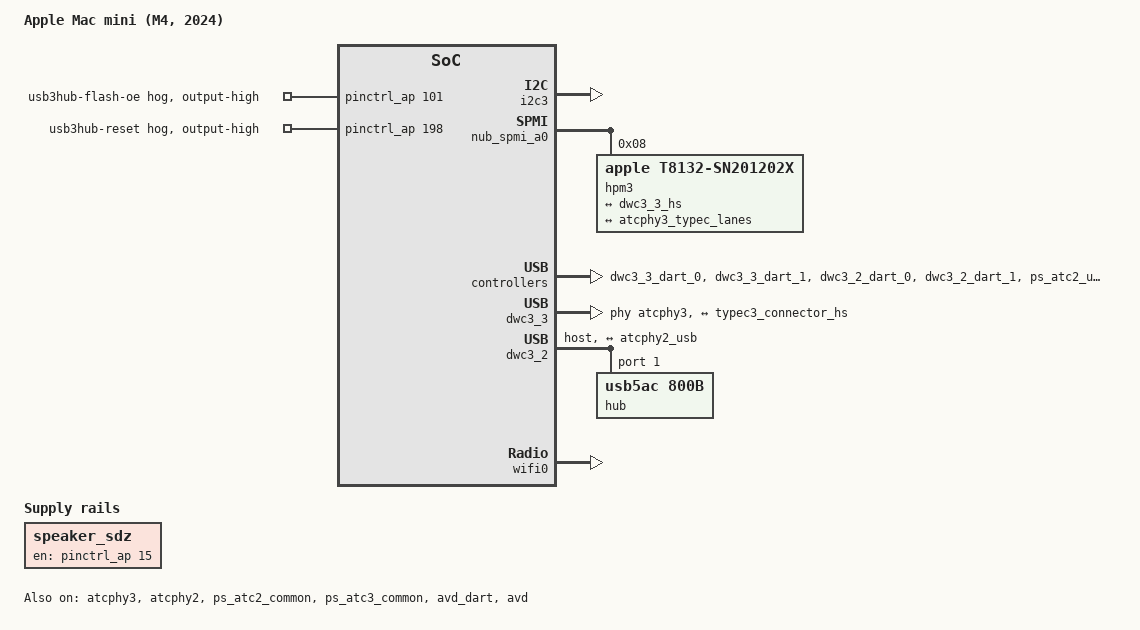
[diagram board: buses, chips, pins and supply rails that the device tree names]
// SPDX-License-Identifier: GPL-2.0+ OR MIT
/*
 * Apple Mac mini (M4, 2024)
 *
 * target-type: J773g
 *
 * Wired from the J773g ADT (macOS 26.6.2; the HDMI port on dcpext0 from the
 * macOS 27.2 one).
 *
 * Copyright The Asahi Linux Contributors
 */

/dts-v1/;

#include "t8132.dtsi"
#include "t8132-desktop.dtsi"
#include "t8132-atc23.dtsi"
#include <dt-bindings/gpio/gpio.h>
#include <dt-bindings/spmi/spmi.h>

/ {
	compatible = "apple,j773g", "apple,t8132", "apple,arm-platform";
	model = "Apple Mac mini (M4, 2024)";
	chassis-type = "desktop";

	/*
	 * The speaker amp's shutdown line (SDZ, AP GPIO 15, the ADT
	 * function-reset; low = shutdown).
	 */
	speaker_sdz: regulator-sn012776-sdz {
		compatible = "regulator-fixed";
		regulator-name = "sn012776-sdz";
		gpios = <&pinctrl_ap 15 GPIO_ACTIVE_HIGH>;
		enable-active-high;
	};
};

/*
 * iBoot scans out through dispext0 to the HDMI port (dptx-phy and a
 * DP-to-HDMI converter at i2c0 0x08, hot-plug on AOP GPIO 41): keep the
 * power domains used for it on.
 */
&framebuffer0 {
	power-domains = <&ps_dispext0_fe>, <&ps_dptx_phy>;
};

/*
 * The HDMI port as macOS 27.2 drives it: from dispext0 alone (4K60, and
 * 4K120 with DSC; the main DCP started and then parked), through the LPDPTX
 * PHY and the PS190 DP-to-HDMI converter. It is the M4 Max Mac Studio's HDMI
 * port (t6041-j575c-hdmi.dtsi): the same PHY block, converter and rails, and
 * it is handed over the same way, on the firmware-27 backend.
 *
 * Every node is disabled. On macOS 27.2 the boot loader (aura) fills
 * dcpext0's firmware memory and firmware clocks, leaves the main DCP running
 * idle, and enables the display subsystem on iBoot's framebuffer; the display
 * gate (drivers/soc/apple/display-gate.c) then enables this chain and points
 * the display subsystem at dispext0's DART. On the M4 26.6.2 firmware path
 * none of it is enabled from here.
 */
/ {
	reserved-memory {
		/* Filled by the boot loader on macOS 27.2, as the J575c's. */
		dcpext0_text: dcpext0-text {
			compatible = "apple,asc-mem";
			reg = <0x0 0x0 0x0 0x4000>;
			no-map;
			status = "disabled";
		};

		dcpext0_data: dcpext0-data {
			compatible = "apple,asc-mem";
			reg = <0x0 0x0 0x0 0x4000>;
			no-map;
			status = "disabled";
		};

		dcpext0_heap: dcpext0-heap {
			compatible = "apple,asc-mem";
			reg = <0x0 0x0 0x0 0x4000>;
			no-map;
			status = "disabled";
		};
	};
};

&soc {
	/*
	 * ADT /arm-io/dptx-phy (dptx-phy,t8132, as the J575c's lpdptx-phy0):
	 * the T6050 layout, a core bank and a dptx bank, and the ADT's PLL
	 * calibration (FD0FD1SWAP unset). The display crossbar's dfp-endpoint 4
	 * (lpdptx); dispext0 is its ufp-endpoint 0, which the PHY's source
	 * select takes as 1, dcpext0's apple,dcp-index.
	 */
	lpdptx_phy: phy@39a700000 {
		compatible = "apple,t8132-dptx-phy", "apple,t6050-dptx-phy";
		reg = <0x3 0x9a700000 0x0 0x4000>,
		      <0x3 0x9a740000 0x0 0x10000>;
		reg-names = "core", "dptx";
		power-domains = <&ps_dptx_phy>;
		#phy-cells = <0>;
		#reset-cells = <0>;
		apple,ufp-endpoint = <0>;
		apple,pll-dcocfg = <0x4>;
		apple,pll-dtcvreg = <0xf>;
		apple,pll-dtccal = <0x2>;
		apple,pll-dcdadj = <0x10>;
		apple,pll-dlfcfg = <0x3>;
		apple,pll-rodcoroleakcomp = <0x0>;
		status = "disabled";
	};
};

/*
 * No PMP runs off the M4 firmware path, and iBoot leaves DISPEXT0 powered
 * with its CPU domain under hardware control: as on the J575c, the pipe has
 * no power domain here, and Linux never switches it. Its front end (and
 * through it DISPEXT0_SYS) is held by the boot framebuffer only: keep it on
 * once the display driver has taken over, or the domain would be powered off
 * under the running processor.
 */
&ps_dispext0_fe {
	apple,always-on;
};

&dcpext0_mbox {
	/delete-property/ power-domains;
};

&dcpext0_dart {
	/delete-property/ power-domains;
};

&dispext0_dart {
	/delete-property/ power-domains;
};

/*
 * ADT /arm-io/dp2hdmi-gpio0: hdmi_hpd on AOP GPIO 41, hdmi_pwr_en on SMC
 * gP0f and dp2hdmi_pwr_en on SMC gP1a (the J575c's rails). No Type-C route:
 * dcpext0 drives only this port.
 */
&dcpext0 {
	/delete-property/ power-domains;
	apple,iomfb-surfaces = <1 1 0 0>;
	apple,connector-type = "HDMI-A";
	hdmi-hpd-gpios = <&pinctrl_aop 41 GPIO_ACTIVE_HIGH>;
	hdmi-pwren-gpios = <&smc_gpio 15 GPIO_ACTIVE_HIGH>;
	dp2hdmi-pwren-gpios = <&smc_gpio 26 GPIO_ACTIVE_HIGH>;
	phys = <&lpdptx_phy>;
	phy-names = "dp-phy";
	/* the crossbar's output 4 (ADT dptx-phy dp-switch-dfp-endpoint) */
	apple,dptx-phy = <4>;
	memory-region = <&dcpext0_text>, <&dcpext0_data>, <&dcpext0_heap>;
	memory-region-names = "text", "data", "heap";
};

/*
 * Without this, the PMP firmware faults in the PMC block (0x382800000)
 * shortly after it starts on this board. J713 keeps ps_pmc out of Linux
 * in its PMGR policy; this board has none yet.
 */
&ps_pmc {
	apple,always-on;
};

/*
 * The AOP audio component always runs a microphone stream, and this Mac
 * has no microphones (ADT iop-audio-controller has no audio-hp) and no
 * speaker sense, so it has no sound card yet. The AOP registers its audio
 * service by itself: without the node, no driver binds it.
 */
/delete-node/ &aop_audio;

/*
 * The SN012776 speaker amp (ADT /arm-io/i2c3/audio-speaker at 0x38, mono,
 * speaker-protection 0): interrupt on AP GPIO 14, level low. Disabled
 * until the speaker has a sound card and a protection profile.
 */
&i2c3 {
	status = "okay";

	speaker: codec@38 {
		compatible = "ti,sn012776", "ti,tas2764";
		reg = <0x38>;
		SDZ-supply = <&speaker_sdz>;
		apple,sdz-group-fail-closed;
		apple,deferred-shutdown;
		#sound-dai-cells = <0>;
		sound-name-prefix = "Speaker";
		interrupts-extended = <&pinctrl_ap 14 IRQ_TYPE_LEVEL_LOW>;
		ti,imon-slot-no = <0>;
		ti,vmon-slot-no = <2>;
		status = "disabled";
	};
};

&typec0 {
	label = "USB-C Back Middle";
};

&typec1 {
	label = "USB-C Back Left";
};

/* ATC3's port controller (ADT nub-spmi-a0 hpm3). */
&nub_spmi_a0 {
	hpm3: usb-pd@8 {
		compatible = "apple,t8132-sn201202x", "apple,sn201202x";
		reg = <0x8 SPMI_USID>;
		interrupts = <63 IRQ_TYPE_EDGE_RISING>,
			     <69 IRQ_TYPE_EDGE_RISING>,
			     <71 IRQ_TYPE_EDGE_RISING>;
		interrupt-names = "irq", "sleep", "wake";
		wakeup-source;

		typec3: connector {
			compatible = "usb-c-connector";
			label = "USB-C Back Right";
			power-role = "dual";
			data-role = "dual";

			ports {
				#address-cells = <1>;
				#size-cells = <0>;

				port@0 {
					reg = <0>;
					typec3_connector_hs: endpoint {
						remote-endpoint = <&dwc3_3_hs>;
					};
				};

				port@1 {
					reg = <1>;
					typec3_connector_ss: endpoint {
						remote-endpoint = <&atcphy3_typec_lanes>;
					};
				};
			};
		};
	};
};

&atcphy3 {
	status = "okay";

	ports {
		#address-cells = <1>;
		#size-cells = <0>;

		port@0 {
			reg = <0>;
			atcphy3_typec_lanes: endpoint {
				remote-endpoint = <&typec3_connector_ss>;
			};
		};
	};
};

&dwc3_3_dart_0 {
	status = "okay";
};

&dwc3_3_dart_1 {
	status = "okay";
};

&dwc3_3 {
	maximum-speed = "super-speed";
	phys = <&atcphy3 PHY_TYPE_USB2>, <&atcphy3 PHY_TYPE_USB3>;
	phy-names = "usb2-phy", "usb3-phy";
	status = "okay";

	ports {
		#address-cells = <1>;
		#size-cells = <0>;

		port@0 {
			reg = <0>;
			dwc3_3_hs: endpoint {
				remote-endpoint = <&typec3_connector_hs>;
			};
		};
	};
};

/*
 * The two front USB-C ports: an on-board USB2 hub (Apple 05ac:800b, firmware
 * on spi3) on raw USB2 root port 1 of ATC2's controller (ADT usb-drd2), with
 * no port controller. The PHY only enters USB3 mode from a Type-C mode
 * switch, so the hub runs at high speed. The hub child tells dwc3-apple the
 * controller is a host from probe on; the graph link from the PHY's USB3 port
 * to the controller's SuperSpeed port is how the PHY finds that fixed hub
 * and keeps its USB2 path up without a cable event (no SuperSpeed data path
 * is described). The hub's reset and SPI-flash output-enable lines (ADT
 * usb3hub_rst, usb3hub_flash_oe) are AP GPIOs; the boot loader leaves both
 * high, as does macOS, and the hub runs with them high.
 */
&atcphy2 {
	status = "okay";

	ports {
		#address-cells = <1>;
		#size-cells = <0>;

		port@1 {
			reg = <1>;
			atcphy2_usb: endpoint {
				remote-endpoint = <&dwc3_2_ss>;
			};
		};
	};
};

&dwc3_2_dart_0 {
	status = "okay";
};

&dwc3_2_dart_1 {
	status = "okay";
};

&dwc3_2 {
	dr_mode = "host";
	#address-cells = <1>;
	#size-cells = <0>;
	status = "okay";

	hub@1 {
		compatible = "usb5ac,800b";
		reg = <1>;
	};

	ports {
		#address-cells = <1>;
		#size-cells = <0>;

		/* Raw xHCI port 1 is USB2; raw port 2 is SuperSpeed. */
		port@2 {
			reg = <2>;
			dwc3_2_ss: endpoint {
				remote-endpoint = <&atcphy2_usb>;
			};
		};
	};
};

&pinctrl_ap {
	usb3hub-flash-oe-hog {
		gpio-hog;
		gpios = <101 GPIO_ACTIVE_HIGH>;
		output-high;
		line-name = "usb3hub-flash-oe";
	};

	usb3hub-reset-hog {
		gpio-hog;
		gpios = <198 GPIO_ACTIVE_HIGH>;
		output-high;
		line-name = "usb3hub-reset";
	};
};

&wifi0 {
	/* ADT /arm-io/wlan module-instance */
	brcm,board-type = "apple,sakhalin";
};

&bluetooth0 {
	brcm,board-type = "apple,sakhalin";
};

/*
 * This Mac hands its radio DART over unconfigured: every stream translates
 * with no valid root and none is enabled. The managed radio contract only
 * admits a SID16 left in its static bypass or disabled, so the DART would
 * refuse the handover (-EBUSY) and port 0 would never probe. Linux owns the
 * radio DART and trains port 0 itself instead.
 */
&dart_apcie0 {
	/delete-property/ apple,managed-sids;
	/delete-property/ apple,sid16-page;
	/delete-property/ apple,dma-range;
};

&pcie0 {
	/delete-property/ apple,managed-sids;
};

#include "hwmon-common.dtsi"
#include "hwmon-mini.dtsi"

/*
 * The PMGR domains of the USB-C ports this board wires beyond ATC0/ATC1, as
 * the M4 firmware path's policy enables ATC0/ATC1's.
 */
&ps_atc2_common {
	status = "okay";
};

&ps_atc2_usb_aon {
	status = "okay";
};

&ps_atc2_usb {
	status = "okay";
};

&ps_atc3_common {
	status = "okay";
};

&ps_atc3_usb_aon {
	status = "okay";
};

&ps_atc3_usb {
	status = "okay";
};

&avd_dart {
	status = "okay";
};

&avd {
	status = "okay";
};

/* The J773g ADT has no DP855 on spi4. */
&spi4 {
	/delete-node/ panel-timing-controller@0;
};
